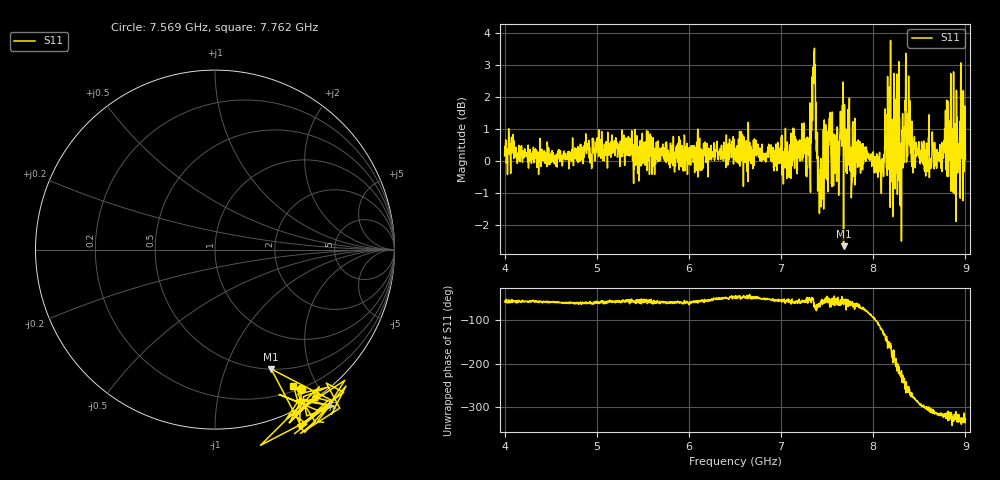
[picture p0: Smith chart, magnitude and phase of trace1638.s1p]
! Created with skrf 1.8.0 (http://scikit-rf.org).
# Hz S RI R 50.0
!freq ReS11 ImS11
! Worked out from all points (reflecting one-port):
!   1601 points, 4 GHz to 9 GHz, reference 50 ohm
!   lowest |S11| = -2.7 dB at 7.678 GHz (marker M1), VSWR 6.54, Z = 25.2 - j72.7 ohm
!   phase of S11 starts at -57 deg and turns -270 deg over the sweep
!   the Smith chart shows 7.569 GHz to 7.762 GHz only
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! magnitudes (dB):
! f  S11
! 4 GHz  0.1
! 4.625 GHz  -0.2
! 5.25 GHz  -0.2
! 5.875 GHz  0.4
! 6.5 GHz  0.3
! 7.125 GHz  0.5
! 7.294 GHz  0.7
! 7.353 GHz  2.4
! 7.369 GHz  3.0
! 7.4 GHz  -0.3
! 7.431 GHz  0.1
! 7.509 GHz  -1.0
! 7.572 GHz  0.8
! 7.678 GHz  -2.7
! 7.75 GHz  -0.3
! 8.097 GHz  0.1
! 8.153 GHz  -0.5
! 8.228 GHz  2.7
! 8.253 GHz  0.8
! 8.312 GHz  1.0
! 8.334 GHz  1.0
! 8.375 GHz  1.1
! 8.438 GHz  0.4
! 8.556 GHz  -0.3
! 8.834 GHz  1.1
! 8.875 GHz  -0.3
! 8.972 GHz  0.8
! 9 GHz  0.0
